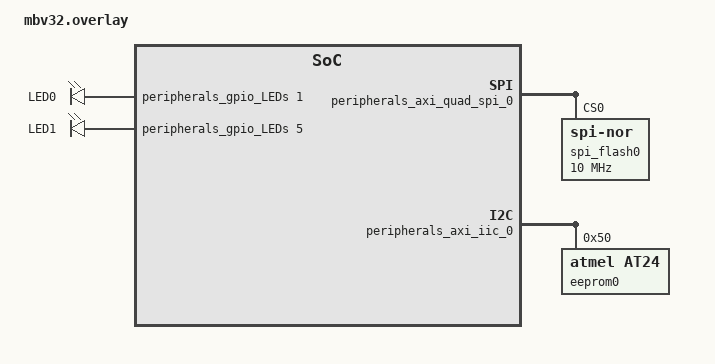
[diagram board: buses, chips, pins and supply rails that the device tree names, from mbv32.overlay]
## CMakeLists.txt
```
# Copyright (c) 2026 Marco Höfle, Avnet-Silica
#
# Permission is hereby granted, free of charge, to any person obtaining a copy
# of this software and associated documentation files to deal in the software
# without restriction, including without limitation the rights to use, copy,
# modify, merge, publish, distribute, sublicense, and/or sell copies.
#
# THE SOFTWARE IS PROVIDED "AS IS", WITHOUT WARRANTY OF ANY KIND.

cmake_minimum_required(VERSION 3.20.0)


# Alle Environment-Variablen ausgeben
#execute_process(COMMAND ${CMAKE_COMMAND} -E environment)

find_package(Zephyr REQUIRED HINTS $ENV{ZEPHYR_BASE})
project(mbv_myapp)

# Generate the compilation database for VS Code.
set(CMAKE_EXPORT_COMPILE_COMMANDS ON)

file(GLOB APP_SOURCES CONFIGURE_DEPENDS
    ${CMAKE_CURRENT_SOURCE_DIR}/src/*.c
)

target_sources(app PRIVATE ${APP_SOURCES})

# Application only: disable optimization and include detailed debug information.
# Source-level options follow Zephyr's target-wide compiler options.
set_property(
    SOURCE ${APP_SOURCES}
    APPEND PROPERTY COMPILE_OPTIONS
        -O0
        -g3
)
```

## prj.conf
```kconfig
# Copyright (c) 2026 Marco Höfle, Avnet-Silica
#
# Permission is hereby granted, free of charge, to any person obtaining a copy
# of this software and associated documentation files to deal in the software
# without restriction, including without limitation the rights to use, copy,
# modify, merge, publish, distribute, sublicense, and/or sell copies.
#
# THE SOFTWARE IS PROVIDED "AS IS", WITHOUT WARRANTY OF ANY KIND.

CONFIG_PRINTK=y
CONFIG_CONSOLE=y
CONFIG_UART_CONSOLE=y
CONFIG_GPIO=y
CONFIG_MAIN_STACK_SIZE=2048

CONFIG_KERNEL_SHELL=y
CONFIG_SHELL=y
CONFIG_SHELL_BACKEND_SERIAL=y
CONFIG_SHELL_HELP=y
CONFIG_SHELL_HISTORY=y
CONFIG_SHELL_TAB=y
CONFIG_SHELL_PROMPT_UART="SCU200>"


CONFIG_SHELL_STACK_SIZE=2048
CONFIG_SHELL_CMD_BUFF_SIZE=256
CONFIG_SHELL_PRINTF_BUFF_SIZE=256

#CONFIG_SPI=y
#CONFIG_SPI_NOR=y
#CONFIG_SPI_NOR_SFDP_RUNTIME=y

#CONFIG_FLASH=y
#CONFIG_FLASH_MAP=y
#CONFIG_FLASH_SHELL=y

#CONFIG_LOG=y
#CONFIG_SPI_LOG_LEVEL_DBG=y
#CONFIG_FLASH_LOG_LEVEL_DBG=y


CONFIG_I2C=y
CONFIG_EEPROM=y
CONFIG_EEPROM_AT24=y
CONFIG_EEPROM_SHELL=y

CONFIG_MBV_ZICBOM=y
CONFIG_DCACHE_LINE_SIZE=16
CONFIG_CACHE_MANAGEMENT=y
```

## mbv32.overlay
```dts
/******************************************************************************
 * Copyright (c) 2026 Marco Höfle, Avnet-Silica
 *
 * Permission is hereby granted, free of charge, to any person obtaining a copy
 * of this software and associated documentation files to deal in the software
 * without restriction, including without limitation the rights to use, copy,
 * modify, merge, publish, distribute, sublicense, and/or sell copies.
 *
 * THE SOFTWARE IS PROVIDED "AS IS", WITHOUT WARRANTY OF ANY KIND.
 ******************************************************************************/

#include <zephyr/dt-bindings/gpio/gpio.h>

/ {
    leds {
        compatible = "gpio-leds";

        led0: led_0 {
            gpios = <&peripherals_gpio_LEDs 1 GPIO_ACTIVE_HIGH>;
            label = "LED0";
        };
        led1: led_1 {
            gpios = <&peripherals_gpio_LEDs 5 GPIO_ACTIVE_HIGH>;
            label = "LED1";
        };
    };

    aliases {
        led0 = &led0;
        led1 = &led1;
    };

    chosen {
        zephyr,sram  = &microblaze_riscv_0_local_memory_dlmb_bram_if_cntlr_memory;
    };
};

&peripherals_axi_quad_spi_0 {
    status = "okay";

    spi_flash0: flash@0 {
        compatible = "jedec,spi-nor";
        status = "okay";
        reg = <0>;
        /* Start slow for bring-up */
        spi-max-frequency = <10000000>;

        jedec-id = [20 bb 18];
        size = <0x1000000>; /* 16 MiB / 128 Mbit */
    };
};

&peripherals_axi_iic_0 {
    status = "okay";

    eeprom0: eeprom@50 {
        compatible = "atmel,at24";
        reg = <0x50>;

        size = <8192>;         /* 64 kbit = 8 KiB */
        pagesize = <32>;       /* M24C64 page size */
        address-width = <16>;

        timeout = <5>;
        status = "okay";
    };
};
```

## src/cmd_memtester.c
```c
/******************************************************************************
 * Copyright (c) 2026 Marco Höfle, Avnet-Silica
 *
 * Permission is hereby granted, free of charge, to any person obtaining a copy
 * of this software and associated documentation files to deal in the software
 * without restriction, including without limitation the rights to use, copy,
 * modify, merge, publish, distribute, sublicense, and/or sell copies.
 *
 * THE SOFTWARE IS PROVIDED "AS IS", WITHOUT WARRANTY OF ANY KIND.
 ******************************************************************************/

/*
 * Zephyr shell command: destructive RAM tester
 *
 * Target: MicroBlaze V (RV32) and other Zephyr targets
 * Zephyr: 4.3.0 (Xilinx/zephyr-amd), Zephyr SDK 0.17.4
 *
 * Required Kconfig:
 *   CONFIG_SHELL=y
 * Optional (recommended if the data cache is enabled in the design):
 *   CONFIG_CACHE_MANAGEMENT=y
 *
 * IMPORTANT: This test is DESTRUCTIVE.
 * Only test RAM that is NOT used by the Zephyr kernel, the application,
 * stacks, heap, device buffers or DMA buffers. The memory must be
 * CPU-accessible. Ranges overlapping the Zephyr image are rejected.
 */

#include <zephyr/kernel.h>
#include <zephyr/shell/shell.h>
#include <zephyr/cache.h>
#include <zephyr/linker/linker-defs.h>
#include <zephyr/sys/util.h>
#include <stdint.h>
#include <stdlib.h>
#include <errno.h>
#include <inttypes.h>
#include <limits.h>

#define MEMTEST_WORD_SIZE  sizeof(uint32_t)
#define MEMTEST_YIELD_MASK 0xfffffU

/* --------------------------------------------------------------------------
 * Helpers
 * ------------------------------------------------------------------------ */

static int parse_u64(const char *str, uint64_t *value)
{
	char *endptr;
	unsigned long long val;

	errno = 0;
	val = strtoull(str, &endptr, 0);

	if ((errno != 0) || (endptr == str) || (*endptr != '\0')) {
		return -EINVAL;
	}

	*value = (uint64_t)val;
	return 0;
}

/*
 * Write back dirty lines and invalidate the range so that the following
 * read-back really comes from RAM and not from the data cache.
 * Without this, a defective RAM may pass the test on cached systems.
 */
static void mem_sync(volatile uint32_t *mem, size_t size)
{
#if defined(CONFIG_CACHE_MANAGEMENT) && defined(CONFIG_DCACHE)
	(void)sys_cache_data_flush_and_invd_range((void *)mem, size);
#else
	ARG_UNUSED(mem);
	ARG_UNUSED(size);
#endif
	/*
	 * Full memory barrier. GCC builtin, no Zephyr header needed.
	 * Emits "fence rw,rw" on RISC-V (MicroBlaze V).
	 */
	__atomic_thread_fence(__ATOMIC_SEQ_CST);
}

/*
 * Address-derived pattern.
 * Avoids shifting a 32-bit uintptr_t by 32 (undefined behaviour on RV32).
 */
static inline uint32_t addr_pattern(uintptr_t address)
{
	uint32_t pattern = (uint32_t)address;

#if UINTPTR_MAX > 0xffffffffU
	pattern ^= (uint32_t)((uint64_t)address >> 32);
#endif
	return pattern ^ 0xa5a5a5a5U;
}

static void report_fail(const struct shell *sh, volatile uint32_t *addr,
			uint32_t expected, uint32_t actual)
{
	shell_error(sh,
		    "FAIL\n"
		    "    Address : %p\n"
		    "    Expected: 0x%08" PRIx32 "\n"
		    "    Actual  : 0x%08" PRIx32 "\n"
		    "    XOR     : 0x%08" PRIx32,
		    (void *)addr, expected, actual, expected ^ actual);
}

/* Reject ranges overlapping the running Zephyr image (code/data/bss/stacks) */
static bool overlaps_zephyr_image(uintptr_t start, size_t size)
{
	uintptr_t img_start = (uintptr_t)_image_ram_start;
	uintptr_t img_end = (uintptr_t)_image_ram_end;
	uintptr_t end = start + size; /* exclusive */

	return (start < img_end) && (end > img_start);
}

/* --------------------------------------------------------------------------
 * Tests
 * ------------------------------------------------------------------------ */

static int test_pattern(const struct shell *sh, volatile uint32_t *mem,
			size_t words, uint32_t pattern)
{
	size_t i;

	shell_fprintf(sh, SHELL_NORMAL, "  Pattern 0x%08" PRIx32 " ... ", pattern);

	for (i = 0; i < words; i++) {
		mem[i] = pattern;
		if ((i & MEMTEST_YIELD_MASK) == 0) {
			k_yield();
		}
	}

	mem_sync(mem, words * MEMTEST_WORD_SIZE);

	for (i = 0; i < words; i++) {
		uint32_t value = mem[i];

		if (value != pattern) {
			report_fail(sh, &mem[i], pattern, value);
			return -EIO;
		}
		if ((i & MEMTEST_YIELD_MASK) == 0) {
			k_yield();
		}
	}

	shell_print(sh, "PASS");
	return 0;
}

static int test_address_pattern(const struct shell *sh, volatile uint32_t *mem,
				size_t words)
{
	size_t i;

	shell_fprintf(sh, SHELL_NORMAL, "  Address pattern     ... ");

	for (i = 0; i < words; i++) {
		mem[i] = addr_pattern((uintptr_t)&mem[i]);
		if ((i & MEMTEST_YIELD_MASK) == 0) {
			k_yield();
		}
	}

	mem_sync(mem, words * MEMTEST_WORD_SIZE);

	for (i = 0; i < words; i++) {
		uint32_t expected = addr_pattern((uintptr_t)&mem[i]);
		uint32_t actual = mem[i];

		if (actual != expected) {
			report_fail(sh, &mem[i], expected, actual);
			return -EIO;
		}
		if ((i & MEMTEST_YIELD_MASK) == 0) {
			k_yield();
		}
	}

	shell_print(sh, "PASS");
	return 0;
}

/* invert == false: walking ones, invert == true: walking zeros */
static int test_walking(const struct shell *sh, volatile uint32_t *mem,
			size_t words, bool invert)
{
	unsigned int bit;
	size_t i;

	shell_fprintf(sh, SHELL_NORMAL, "  Walking %s       ... ",
		      invert ? "zeros" : "ones ");

	for (bit = 0; bit < 32; bit++) {
		uint32_t pattern = invert ? ~BIT(bit) : BIT(bit);

		for (i = 0; i < words; i++) {
			mem[i] = pattern;
			if ((i & MEMTEST_YIELD_MASK) == 0) {
				k_yield();
			}
		}

		mem_sync(mem, words * MEMTEST_WORD_SIZE);

		for (i = 0; i < words; i++) {
			uint32_t actual = mem[i];

			if (actual != pattern) {
				shell_error(sh, "Bit %u", bit);
				report_fail(sh, &mem[i], pattern, actual);
				return -EIO;
			}
			if ((i & MEMTEST_YIELD_MASK) == 0) {
				k_yield();
			}
		}
	}

	shell_print(sh, "PASS");
	return 0;
}

static int run_memtest(const struct shell *sh, uintptr_t address, size_t size)
{
	static const uint32_t patterns[] = {
		0x00000000U, 0xffffffffU, 0xaaaaaaaaU,
		0x55555555U, 0xccccccccU, 0x33333333U,
	};
	volatile uint32_t *mem = (volatile uint32_t *)address;
	size_t words = size / MEMTEST_WORD_SIZE;
	int ret;

	for (size_t p = 0; p < ARRAY_SIZE(patterns); p++) {
		ret = test_pattern(sh, mem, words, patterns[p]);
		if (ret != 0) {
			return ret;
		}
	}

	ret = test_address_pattern(sh, mem, words);
	if (ret != 0) {
		return ret;
	}

	ret = test_walking(sh, mem, words, false);
	if (ret != 0) {
		return ret;
	}

	return test_walking(sh, mem, words, true);
}

/* --------------------------------------------------------------------------
 * Shell command
 * ------------------------------------------------------------------------ */

static int cmd_memtest(const struct shell *sh, size_t argc, char **argv)
{
	uint64_t address64;
	uint64_t size64;
	uint64_t loops64 = 1;
	uintptr_t address;
	size_t size;
	unsigned int loops;
	int64_t t_start;
	int ret;

	if (parse_u64(argv[1], &address64) != 0) {
		shell_error(sh, "Invalid address: %s", argv[1]);
		return -EINVAL;
	}

	if (parse_u64(argv[2], &size64) != 0) {
		shell_error(sh, "Invalid size: %s", argv[2]);
		return -EINVAL;
	}

	if (argc >= 4) {
		ret = parse_u64(argv[3], &loops64);
		if ((ret != 0) || (loops64 == 0) || (loops64 > UINT_MAX)) {
			shell_error(sh, "Invalid loop count: %s", argv[3]);
			return -EINVAL;
		}
	}

	if (address64 > UINTPTR_MAX) {
		shell_error(sh, "Address exceeds CPU address range");
		return -EINVAL;
	}

	if (size64 > SIZE_MAX) {
		shell_error(sh, "Size exceeds CPU address range");
		return -EINVAL;
	}

	address = (uintptr_t)address64;
	size = (size_t)size64;
	loops = (unsigned int)loops64;

	if ((address & (MEMTEST_WORD_SIZE - 1)) != 0) {
		shell_error(sh, "Address must be %u-byte aligned",
			    (unsigned int)MEMTEST_WORD_SIZE);
		return -EINVAL;
	}

	if ((size == 0) || ((size & (MEMTEST_WORD_SIZE - 1)) != 0)) {
		shell_error(sh, "Size must be a non-zero multiple of %u bytes",
			    (unsigned int)MEMTEST_WORD_SIZE);
		return -EINVAL;
	}

	/* Last byte must not wrap (allows ranges ending at the top of memory) */
	if ((address + (size - 1)) < address) {
		shell_error(sh, "Address range overflow");
		return -EINVAL;
	}

	if (overlaps_zephyr_image(address, size)) {
		shell_error(sh,
			    "Range overlaps Zephyr image RAM [0x%" PRIxPTR
			    " - 0x%" PRIxPTR "] - refusing",
			    (uintptr_t)_image_ram_start,
			    (uintptr_t)_image_ram_end - 1);
		return -EPERM;
	}

	shell_print(sh, "");
	shell_print(sh, "Zephyr Memory Tester");
	shell_print(sh, "--------------------");
	shell_print(sh, "Start : 0x%" PRIxPTR, address);
	shell_print(sh, "End   : 0x%" PRIxPTR, address + size - 1);
	shell_print(sh, "Size  : %zu bytes (%zu KiB)", size, size / 1024U);
	shell_print(sh, "Loops : %u", loops);
#if defined(CONFIG_CACHE_MANAGEMENT) && defined(CONFIG_DCACHE)
	shell_print(sh, "Cache : flush/invalidate before read-back");
#else
	shell_warn(sh, "Cache : no cache management (enable "
		       "CONFIG_CACHE_MANAGEMENT if D-cache is present)");
#endif
	shell_print(sh, "");
	shell_warn(sh, "WARNING: This test DESTROYS the memory contents!");
	shell_print(sh, "");

	t_start = k_uptime_get();

	for (unsigned int loop = 0; loop < loops; loop++) {
		shell_print(sh, "=== Loop %u/%u ===", loop + 1, loops);

		ret = run_memtest(sh, address, size);
		if (ret != 0) {
			shell_error(sh, "");
			shell_error(sh, "MEMORY TEST FAILED (loop %u)", loop + 1);
			return ret;
		}
		shell_print(sh, "");
	}

	shell_print(sh, "=============================");
	shell_print(sh, " MEMORY TEST PASSED");
	shell_print(sh, " Duration: %" PRId64 " ms", k_uptime_get() - t_start);
	shell_print(sh, "=============================");

	return 0;
}

SHELL_CMD_ARG_REGISTER(memtest, NULL,
	"Destructive memory test.\n"
	"Usage: memtest <address> <size> [loops]\n"
	"\n"
	"Examples:\n"
	"  memtest 0x90000000 0x100000\n"
	"  memtest 0x90000000 0x1000000 10",
	cmd_memtest, 3, 1);
```
